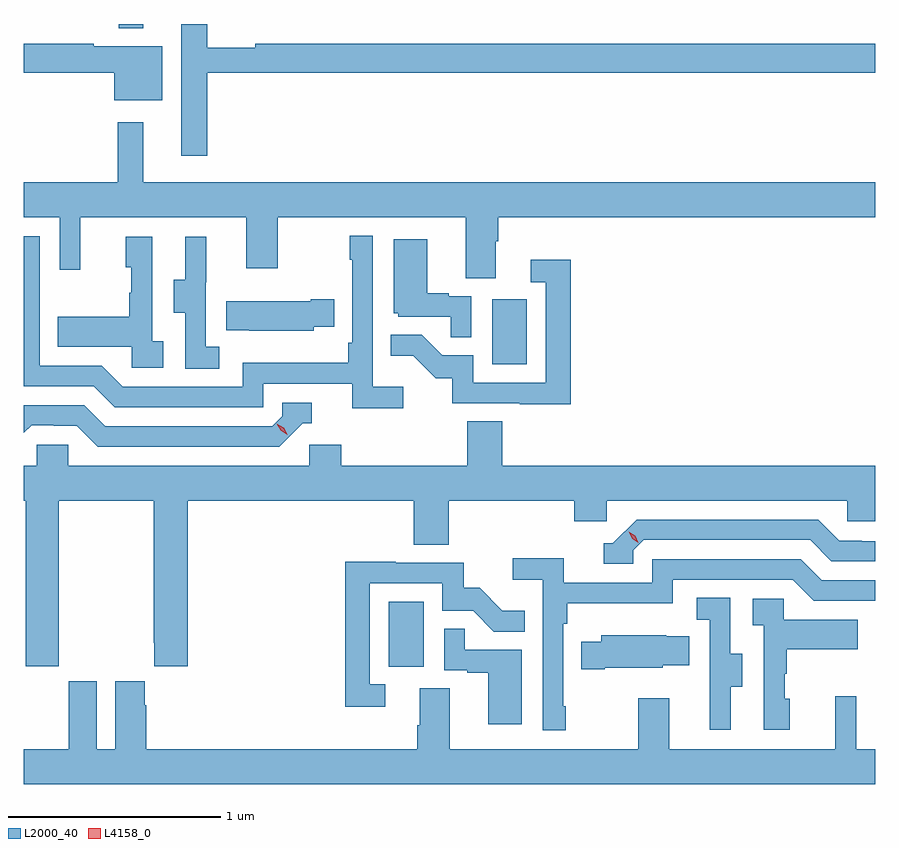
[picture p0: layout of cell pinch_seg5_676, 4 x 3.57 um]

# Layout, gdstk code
import gdstk
lib = gdstk.Library(unit=1e-6, precision=1e-09)
def R(c, l, rs):  # rectangles x0, y0, x1, y1
    for r in rs: c.add(gdstk.rectangle(r[:2], r[2:], *l))
def P(c, l, *ps):  # polygons
    for p in ps: c.add(gdstk.Polygon(p, *l))
L2000_40 = (2000, 40)
L4158_0 = (4158, 0)

pinch_seg5_676 = lib.new_cell('pinch_seg5_676')
R(pinch_seg5_676, L2000_40, [(1129.688,841.326,1129.852,841.633), (1130.174,842.748,1130.338,843.055), (1128.42,844.328,1128.535,844.348)])
P(pinch_seg5_676, L2000_40, [(1128.835,844.12),(1131.974,844.12),(1131.974,844.256),(1129.06,844.256),(1129.06,844.237),(1128.835,844.237),(1128.835,844.348),(1128.713,844.348),(1128.713,843.729),(1128.835,843.729)],
  [(1128.625,844.243),(1128.302,844.243),(1128.302,844.256),(1127.974,844.256),(1127.974,844.12),(1128.398,844.12),(1128.398,843.989),(1128.625,843.989)],
  [(1130.191,843.328),(1130.204,843.328),(1130.204,843.44),(1131.974,843.44),(1131.974,843.604),(1128.535,843.604),(1128.535,843.886),(1128.414,843.886),(1128.414,843.604),(1127.974,843.604),(1127.974,843.44),(1128.141,843.44),(1128.141,843.192),(1128.239,843.192),(1128.239,843.44),(1129.019,843.44),(1129.019,843.201),(1129.167,843.201),(1129.167,843.44),(1130.051,843.44),(1130.051,843.154),(1130.191,843.154)],
  [(1129.756,842.644),(1129.614,842.644),(1129.614,843.352),(1129.506,843.352),(1129.506,843.239),(1129.518,843.239),(1129.518,842.851),(1129.498,842.851),(1129.498,842.755),(1129.002,842.755),(1129.002,842.643),(1128.438,842.643),(1128.339,842.742),(1128.048,842.742),(1128.048,843.351),(1127.974,843.351),(1127.974,842.646),(1128.302,842.646),(1128.401,842.547),(1129.098,842.547),(1129.098,842.658),(1129.517,842.658),(1129.517,842.542),(1129.756,842.542)],
  [(1128.628,842.858),(1128.576,842.858),(1128.576,843.349),(1128.452,843.349),(1128.452,843.204),(1128.478,843.204),(1128.478,843.086),(1128.468,843.086),(1128.468,842.971),(1128.133,842.971),(1128.133,842.831),(1128.48,842.831),(1128.48,842.733),(1128.628,842.733)],
  [(1128.892,842.831),(1128.828,842.831),(1128.828,843.135),(1128.83,843.135),(1128.83,843.349),(1128.731,843.349),(1128.731,843.147),(1128.677,843.147),(1128.677,842.992),(1128.732,842.992),(1128.732,842.728),(1128.892,842.728)],
  [(1130.076,843.069),(1129.97,843.069),(1129.97,843.082),(1129.87,843.082),(1129.87,843.337),(1129.712,843.337),(1129.712,842.988),(1129.734,842.988),(1129.734,842.973),(1129.981,842.973),(1129.981,842.875),(1130.076,842.875)],
  [(1130.543,843.241),(1130.355,843.241),(1130.355,843.135),(1130.427,843.135),(1130.427,842.661),(1130.085,842.661),(1130.085,842.79),(1129.941,842.79),(1129.843,842.888),(1129.699,842.888),(1129.699,842.789),(1129.803,842.789),(1129.91,842.682),(1129.987,842.682),(1129.987,842.565),(1130.305,842.565),(1130.305,842.56),(1130.543,842.56)],
  [(1129.335,842.924),(1129.433,842.924),(1129.433,843.054),(1129.322,843.054),(1129.322,843.046),(1128.925,843.046),(1128.925,842.909),(1129.033,842.909),(1129.033,842.906),(1129.335,842.906)],
  [(1129.284,842.472),(1129.327,842.472),(1129.327,842.568),(1129.188,842.568),(1129.188,842.505),(1129.14,842.457),(1128.357,842.457),(1128.258,842.556),(1127.974,842.556),(1127.974,842.426),(1128.011,842.463),(1128.114,842.463),(1128.114,842.46),(1128.221,842.46),(1128.32,842.361),(1129.173,842.361)],
  [(1128.138,842.108),(1128.583,842.108),(1128.583,841.441),(1128.587,841.441),(1128.587,841.329),(1128.743,841.329),(1128.743,842.108),(1129.805,842.108),(1129.805,841.9),(1129.97,841.9),(1129.97,842.108),(1130.561,842.108),(1130.561,842.01),(1130.712,842.01),(1130.712,842.108),(1131.843,842.108),(1131.843,842.01),(1131.974,842.01),(1131.974,842.272),(1130.222,842.272),(1130.222,842.48),(1130.057,842.48),(1130.057,842.272),(1129.466,842.272),(1129.466,842.37),(1129.314,842.37),(1129.314,842.272),(1128.183,842.272),(1128.183,842.37),(1128.033,842.37),(1128.033,842.272),(1127.974,842.272),(1127.974,842.108),(1127.983,842.108),(1127.983,841.329),(1128.138,841.329)],
  [(1130.838,841.875),(1130.886,841.923),(1131.669,841.923),(1131.768,841.824),(1131.974,841.824),(1131.974,841.917),(1131.912,841.917),(1131.912,841.92),(1131.805,841.92),(1131.706,842.019),(1130.853,842.019),(1130.742,841.908),(1130.699,841.908),(1130.699,841.812),(1130.838,841.812)],
  [(1130.521,841.141),(1130.508,841.141),(1130.508,841.529),(1130.528,841.529),(1130.528,841.625),(1131.024,841.625),(1131.024,841.737),(1131.588,841.737),(1131.687,841.638),(1131.974,841.638),(1131.974,841.734),(1131.724,841.734),(1131.625,841.833),(1130.928,841.833),(1130.928,841.722),(1130.51,841.722),(1130.51,841.838),(1130.271,841.838),(1130.271,841.736),(1130.412,841.736),(1130.412,841.029),(1130.521,841.029)],
  [(1129.672,841.245),(1129.599,841.245),(1129.599,841.719),(1129.941,841.719),(1129.941,841.59),(1130.085,841.59),(1130.183,841.492),(1130.327,841.492),(1130.327,841.591),(1130.223,841.591),(1130.116,841.698),(1130.04,841.698),(1130.04,841.815),(1129.721,841.815),(1129.721,841.82),(1129.483,841.82),(1129.483,841.14),(1129.672,841.14)],
  [(1131.295,841.234),(1131.349,841.234),(1131.349,841.389),(1131.294,841.389),(1131.294,841.652),(1131.135,841.652),(1131.135,841.549),(1131.198,841.549),(1131.198,841.245),(1131.197,841.245),(1131.197,841.032),(1131.295,841.032)],
  [(1131.574,841.176),(1131.549,841.176),(1131.549,841.295),(1131.559,841.295),(1131.559,841.409),(1131.893,841.409),(1131.893,841.549),(1131.546,841.549),(1131.546,841.647),(1131.399,841.647),(1131.399,841.523),(1131.45,841.523),(1131.45,841.032),(1131.574,841.032)],
  [(1130.314,841.407),(1130.045,841.407),(1130.045,841.505),(1129.95,841.505),(1129.95,841.311),(1130.057,841.311),(1130.057,841.299),(1130.156,841.299),(1130.156,841.056),(1130.314,841.056)],
  [(1130.704,841.322),(1130.976,841.322),(1130.976,841.334),(1131.101,841.334),(1131.101,841.471),(1130.993,841.471),(1130.993,841.474),(1130.687,841.474),(1130.687,841.444),(1130.593,841.444),(1130.593,841.315),(1130.704,841.315)],
  [(1131.974,840.94),(1131.885,840.94),(1131.885,841.189),(1131.788,841.189),(1131.788,840.94),(1131.007,840.94),(1131.007,841.18),(1130.86,841.18),(1130.86,840.94),(1129.975,840.94),(1129.975,841.226),(1129.835,841.226),(1129.835,841.052),(1129.823,841.052),(1129.823,840.94),(1128.548,840.94),(1128.548,841.145),(1128.541,841.145),(1128.541,841.258),(1128.404,841.258),(1128.404,840.94),(1128.316,840.94),(1128.316,841.258),(1128.185,841.258),(1128.185,840.94),(1127.974,840.94),(1127.974,840.776),(1131.974,840.776)])
P(pinch_seg5_676, L4158_0, [(1130.862,841.909),(1130.832,841.929),(1130.816,841.962),(1130.816,841.962),(1130.816,841.962),(1130.847,841.942),(1130.862,841.91),(1130.862,841.909)],
  [(1129.211,842.418),(1129.18,842.438),(1129.163,842.47),(1129.163,842.47),(1129.163,842.47),(1129.194,842.451),(1129.211,842.419),(1129.211,842.418)])

lib.write_gds('pinch_seg5_676.gds')
